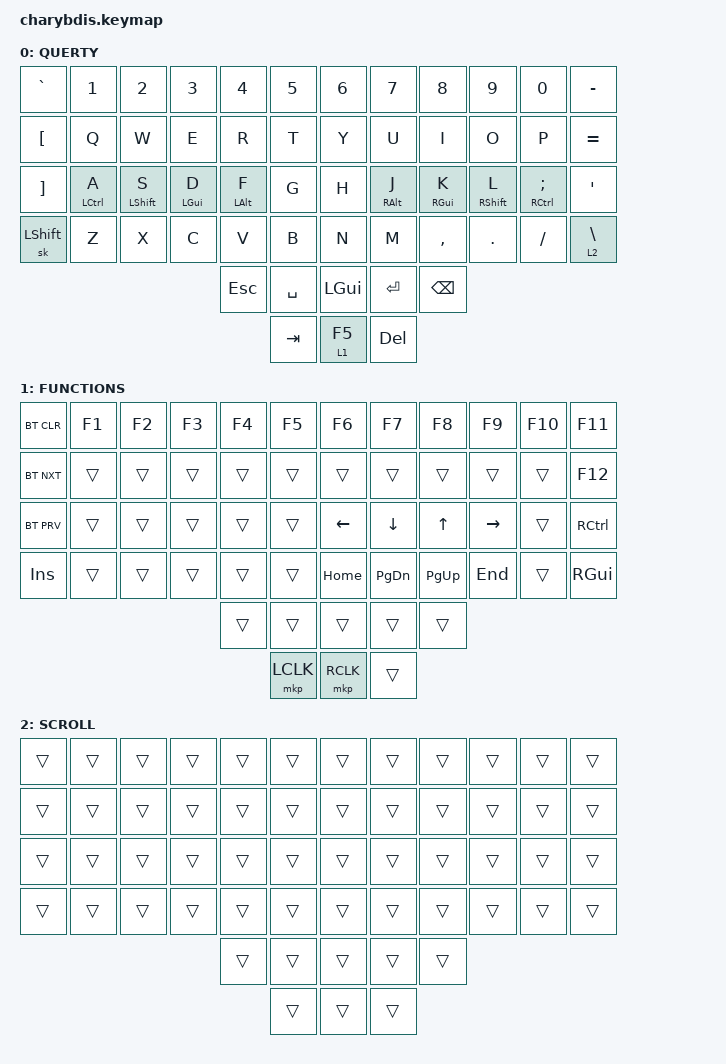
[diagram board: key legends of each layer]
#include <dt-bindings/zmk/mouse.h>
#include <behaviors/mouse_keys.dtsi>
#include <behaviors.dtsi>
#include <dt-bindings/zmk/bt.h>
#include <dt-bindings/zmk/outputs.h>
#include <dt-bindings/zmk/ext_power.h>
#include <dt-bindings/zmk/keys.h>
#include <dt-bindings/zmk/pointing.h>

// / {
//     chosen { zmk,matrix_transform = &default_transform; };
// };

/ {
    /* input config for mouse move mode */

    trackball_listener {
        compatible = "zmk,input-behavior-listener";
        device = <&vtrackball>;
        layers = <0 1>;
        evt-type = <INPUT_EV_REL>;
        x-input-code = <INPUT_REL_X>;
        y-input-code = <INPUT_REL_Y>;
        scale-multiplier = <1>;
        scale-divisor = <2>;
    };

    /* input config for mouse scroll mode */

    trackball_scroll_listener {
        compatible = "zmk,input-behavior-listener";
        device = <&vtrackball>;
        layers = <2>;
        evt-type = <INPUT_EV_REL>;
        x-input-code = <INPUT_REL_MISC>;
        y-input-code = <INPUT_REL_WHEEL>;
        y-invert;
        bindings = <&ib_wheel_scaler 1 14>;
    };

    /* define a resolution down scaler only for INPUT_REL_WHEEL */

    ib_wheel_scaler: ib_wheel_scaler {
        compatible = "zmk,input-behavior-scaler";
        #binding-cells = <2>;
        evt-type = <INPUT_EV_REL>;
        input-code = <INPUT_REL_WHEEL>;
    };

    /* adjust cooldown waiting period for mouse key layer after activated */

    ib_toggle_layer: ib_toggle_layer {
        compatible = "zmk,input-behavior-tog-layer";
        #binding-cells = <1>;
        time-to-live-ms = <750>;
    };

    // #define QUERTY    0
    // #define FUNCTIONS 1
    // #define SCROLL    2

    combos {
        compatible = "zmk,combos";

        rh_leftClick {
            bindings = <&mkp LCLK>;
            key-positions = <43 44>;
        };

        rh_rightClick {
            bindings = <&mkp RCLK>;
            key-positions = <44 45>;
        };

        rh_middleClick {
            bindings = <&mkp MCLK>;
            key-positions = <44 45 43>;
        };

        lh_leftClick {
            bindings = <&mkp LCLK>;
            key-positions = <40 39>;
        };

        lh_rightClick {
            bindings = <&mkp RCLK>;
            key-positions = <38 39>;
        };

        lh_middleClick {
            bindings = <&mkp MCLK>;
            key-positions = <38 39 40>;
        };

        usb {
            bindings = <&out OUT_USB>;
            key-positions = <0 1>;
        };

        bt {
            bindings = <&out OUT_BLE>;
            key-positions = <12 13>;
        };
        
        caps {
            bindings = <&kp CAPSLOCK>;
            key-positions = <24 25>;
        };
        
        caps_word {
            bindings = <&caps_word>;
            key-positions = <36 37>;
        };

        printscreen {
            bindings = <&kp PSCRN>;
            key-positions = <10 11>;
        };

        raise {
            bindings = <&tog 1>;
            key-positions = <46 47>;
        };
    };

    behaviors {
        hmr: hmr {
            compatible = "zmk,behavior-hold-tap";
            label = "HMR";
            bindings = <&kp>, <&kp>;

            #binding-cells = <2>;
            tapping-term-ms = <190>;
            quick-tap-ms = <175>;
            flavor = "balanced";
            hold-trigger-key-positions = <0 1 2 3 4 5 12 13 14 15 16 17 24 25 26 27 28 29 36 37 38 39 40 41 48 49 50 53 54 51 52 55>;
            hold-trigger-on-release;
        };

        hml: hml {
            compatible = "zmk,behavior-hold-tap";
            label = "HML";
            bindings = <&kp>, <&kp>;

            #binding-cells = <2>;
            tapping-term-ms = <190>;
            quick-tap-ms = <175>;
            flavor = "balanced";
            hold-trigger-key-positions = <48 49 50 53 54 51 52 55 6 7 8 9 10 11 18 19 20 21 22 23 30 31 32 33 34 35 42 43 44 45 46 47 51 52>;
            hold-trigger-on-release;
        };
    };

    keymap {
        compatible = "zmk,keymap";

        default_layer {
            bindings = <
&kp GRAVE   &kp N1        &kp N2         &kp N3        &kp N4        &kp N5            &kp N6       &kp N7              &kp N8            &kp N9            &kp N0                          &kp MINUS
&kp LBKT    &kp Q         &kp W          &kp E         &kp R         &kp T             &kp Y        &kp U               &kp I             &kp O             &kp P                           &kp EQUAL
&kp RBKT    &hml LCTRL A  &hml LSHFT S   &hml LGUI D   &hml LALT F   &kp G             &kp H        &hmr RALT J         &hmr RGUI K       &hmr RSHFT L      &hmr RCTRL SEMI                 &kp SQT
&sk LSHFT   &kp Z         &kp X          &kp C         &kp V         &kp B             &kp N        &kp M               &kp COMMA         &kp DOT           &kp SLASH                       &lt 2 BSLH
                                                       &kp ESC       &kp SPACE         &kp LGUI     &kp ENTER           &kp BSPC
                                                                     &kp TAB           &lt 1 F5     &kp DEL
            >;

            label = "QUERTY";
        };

        raise_layer {
            bindings = <
&bt BT_CLR  &kp F1        &kp F2         &kp F3        &kp F4        &kp F5          &kp F6    &kp F7     &kp F8     &kp F9     &kp F10  &kp F11
&bt BT_NXT  &trans        &trans         &trans        &trans        &trans          &trans    &trans     &trans     &trans     &trans   &kp F12
&bt BT_PRV  &trans        &trans         &trans        &trans        &trans          &kp LEFT  &kp DOWN   &kp UP     &kp RIGHT  &trans   &kp RCTRL
&kp INS     &trans        &trans         &trans        &trans        &trans          &kp HOME  &kp PG_DN  &kp PG_UP  &kp END    &trans   &kp RGUI
                                         &trans        &trans        &trans          &trans    &trans
                                                       &mkp LCLK     &mkp RCLK       &trans
            >;

            label = "FUNCTIONS";
        };

        scroll_layer {
            bindings = <
&trans  &trans  &trans  &trans  &trans  &trans    &trans  &trans  &trans  &trans  &trans  &trans
&trans  &trans  &trans  &trans  &trans  &trans    &trans  &trans  &trans  &trans  &trans  &trans
&trans  &trans  &trans  &trans  &trans  &trans    &trans  &trans  &trans  &trans  &trans  &trans
&trans  &trans  &trans  &trans  &trans  &trans    &trans  &trans  &trans  &trans  &trans  &trans
                        &trans  &trans  &trans    &trans  &trans
                                &trans  &trans    &trans
            >;

            label = "SCROLL";
        };
    };
};
